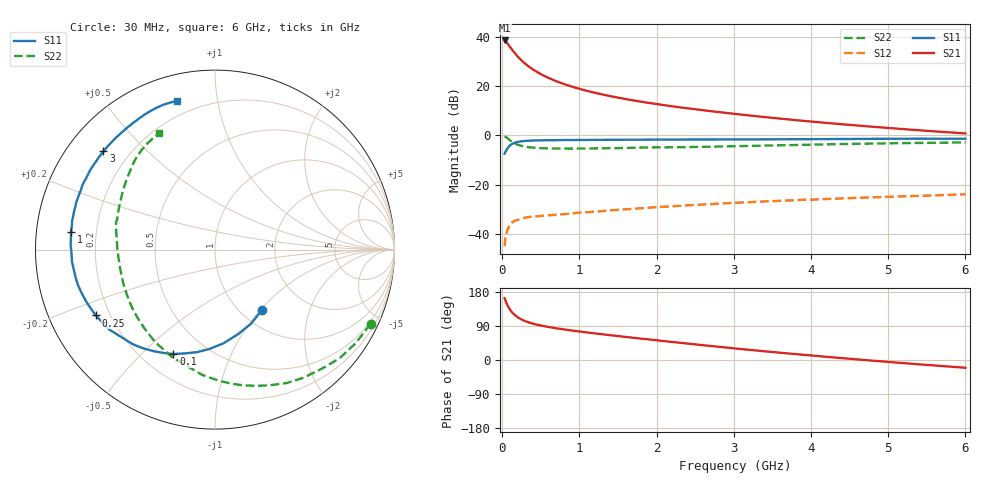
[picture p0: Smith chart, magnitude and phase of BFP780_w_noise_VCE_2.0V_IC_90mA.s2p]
! Infineon Technologies  Discrete & RF Semiconductors
! BFP780
! VCE =  2.0 V,  IC =  90 mA
! Common Emitter S-Parameters:  Jul 2015
# GHz  S  MA  R  50
!  f  S11  S21  S12  S22
! GHz  MAG  ANG  MAG  ANG  MAG  ANG  MAG  ANG
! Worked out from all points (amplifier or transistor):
!   75 points, 30 MHz to 6 GHz, reference 50 ohm
!   highest |S21| = 38.6 dB at 30 MHz (marker M1)
!   |S21| within 3 dB of that: start of sweep to 108.9 MHz
!   unconditionally stable (mu >= 1): 1.763 GHz to end of sweep
!   at 150 MHz: K = 0.15, MSG = 34.4 dB, |S12| = -34.8 dB
!   at 2.3 GHz: K = 1.12, MAG = 17.9 dB, |S12| = -28.7 dB
!   at 6 GHz: K = 1.35, MAG = 8.8 dB, |S12| = -23.9 dB
!   lowest NFmin = 1.94 dB at 450 MHz
!   S11 on the Smith chart (normalised r, x): 30 MHz: 1.25, -1.02; 100 MHz: 0.33, -0.63; 250 MHz: 0.15, -0.25; 1 GHz: 0.11, +0.06; 3 GHz: 0.11, +0.37; 6 GHz: 0.12, +0.77
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0.03  0.4263 -52.0  85.07 162.9  0.0056 75.9  0.9602 -25.5
0.05  0.4881 -74.7  79.44 152.4  0.0098 70.2  0.9209 -41.2
0.06  0.5234 -84.6  76.3 147.9  0.011 60.5  0.8895 -48.7
0.08  0.5796 -99.8  69.6 139.7  0.0131 56.3  0.8443 -61.7
0.1  0.6258 -111.7  62.96 133.1  0.0154 49.2  0.7933 -73.2
0.12  0.6608 -121.0  57.05 127.4  0.0169 45.3  0.7515 -83.3
0.15  0.6988 -131.2  49.59 120.8  0.0181 37.5  0.7024 -95.7
0.2  0.7389 -143.0  40.06 112.6  0.0191 32.7  0.6458 -111.6
0.25  0.7591 -151.1  33.38 106.8  0.0206 29.5  0.6129 -123.2
0.3  0.7721 -157.2  28.38 102.3  0.0213 27.2  0.5885 -132.2
0.35  0.7811 -161.7  24.65 98.7  0.022 25.3  0.5736 -139.3
0.5  0.7935 -170.9  17.56 91.0  0.023 24.0  0.5502 -153.6
0.7  0.7998 -178.8  12.61 83.6  0.0244 23.8  0.5395 -165.0
1  0.8087 173.0  8.839 75.2  0.0269 25.3  0.5405 -175.6
1.1  0.808 170.8  8.017 72.6  0.0274 25.8  0.5407 -178.4
1.5  0.8135 163.0  5.851 63.2  0.0307 27.3  0.5515 173.0
2.1  0.8212 152.7  4.11 49.8  0.0355 27.3  0.57 163.3
3  0.8286 138.6  2.752 30.8  0.0425 24.6  0.6018 149.5
3.1  0.8293 137.2  2.643 28.8  0.0433 24.5  0.6061 148.1
4.1  0.8396 123.4  1.852 10.2  0.0502 20.0  0.6516 135.6
5.1  0.855 112.5  1.378 -6.7  0.0571 15.1  0.6928 125.0
6  0.8553 104.5  1.097 -20.5  0.0636 10.0  0.7192 115.6
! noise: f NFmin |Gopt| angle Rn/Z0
0.45  1.94  0.53  -179  0.08
0.9  1.99  0.54  -166  0.09
1.5  2.05  0.55  -159  0.1
1.8  2.22  0.56  -153  0.12
2.4  2.35  0.59  -144  0.18
3  2.63  0.6  -134  0.25
3.5  3.11  0.63  -123  0.4
